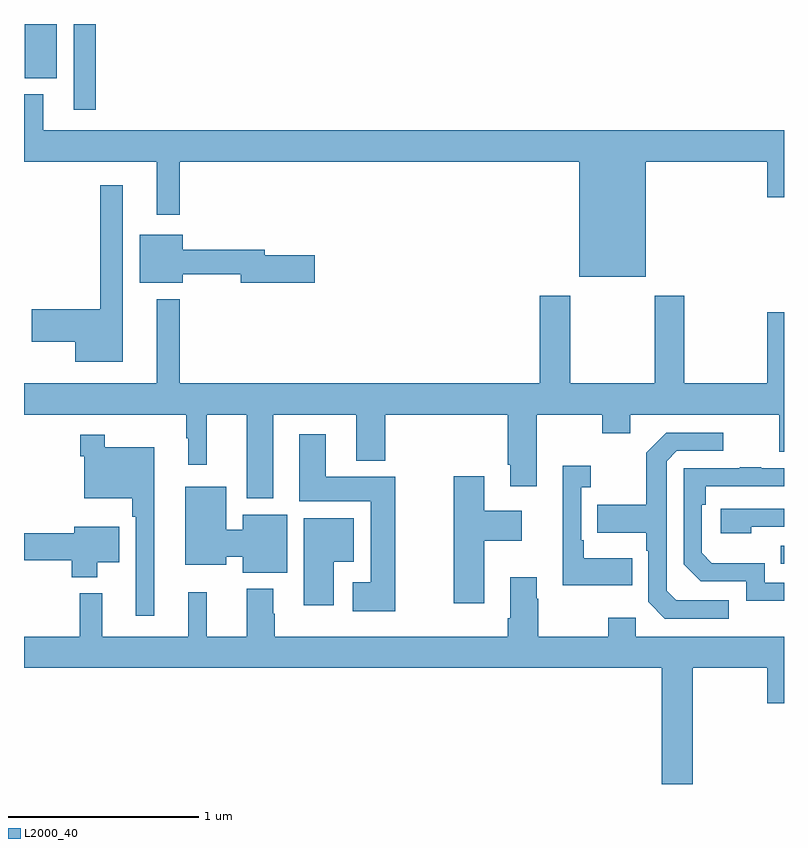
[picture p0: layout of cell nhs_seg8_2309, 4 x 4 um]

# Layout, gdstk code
import gdstk
lib = gdstk.Library(unit=1e-6, precision=1e-09)
def R(c, l, rs):  # rectangles x0, y0, x1, y1
    for r in rs: c.add(gdstk.rectangle(r[:2], r[2:], *l))
def P(c, l, *ps):  # polygons
    for p in ps: c.add(gdstk.Polygon(p, *l))
L2000_40 = (2000, 40)

nhs_seg8_2309 = lib.new_cell('nhs_seg8_2309')
R(nhs_seg8_2309, L2000_40, [(260.983,1105.059,261,1105.155), (257.262,1107.45,257.378,1107.9), (257.003,1107.614,257.173,1107.9)])
P(nhs_seg8_2309, L2000_40, [(260.272,1107.176),(260.912,1107.176),(260.912,1106.988),(261,1106.988),(261,1107.34),(257.101,1107.34),(257.101,1107.529),(257,1107.529),(257,1107.176),(257.699,1107.176),(257.699,1106.895),(257.821,1106.895),(257.821,1107.176),(259.922,1107.176),(259.922,1106.57),(260.272,1106.57)],
  [(257.521,1107.052),(257.4,1107.052),(257.4,1106.399),(257.04,1106.399),(257.04,1106.228),(257.27,1106.228),(257.27,1106.123),(257.521,1106.123)],
  [(257.836,1106.584),(258.14,1106.584),(258.14,1106.537),(258.529,1106.537),(258.529,1106.684),(258.268,1106.684),(258.268,1106.713),(257.836,1106.713),(257.836,1106.791),(257.609,1106.791),(257.609,1106.537),(257.836,1106.537)],
  [(258.313,1105.844),(258.749,1105.844),(258.749,1105.601),(258.902,1105.601),(258.902,1105.844),(259.547,1105.844),(259.547,1105.579),(259.559,1105.579),(259.559,1105.467),(259.699,1105.467),(259.699,1105.844),(260.044,1105.844),(260.044,1105.745),(260.191,1105.745),(260.191,1105.844),(260.975,1105.844),(260.975,1105.65),(261,1105.65),(261,1106.383),(260.912,1106.383),(260.912,1106.008),(260.475,1106.008),(260.475,1106.47),(260.32,1106.47),(260.32,1106.008),(259.875,1106.008),(259.875,1106.47),(259.715,1106.47),(259.715,1106.008),(257.821,1106.008),(257.821,1106.452),(257.699,1106.452),(257.699,1106.008),(257,1106.008),(257,1105.844),(257.853,1105.844),(257.853,1105.721),(257.864,1105.721),(257.864,1105.581),(257.963,1105.581),(257.963,1105.844),(258.173,1105.844),(258.173,1105.403),(258.313,1105.403)],
  [(260.71,1104.867),(260.433,1104.867),(260.382,1104.918),(260.382,1105.599),(260.436,1105.653),(260.68,1105.653),(260.68,1105.749),(260.379,1105.749),(260.274,1105.643),(260.274,1105.371),(260.017,1105.371),(260.017,1105.223),(260.274,1105.223),(260.274,1105.127),(260.286,1105.127),(260.286,1104.858),(260.373,1104.771),(260.71,1104.771)],
  [(258.954,1105.516),(258.589,1105.516),(258.589,1105.741),(258.449,1105.741),(258.449,1105.388),(258.824,1105.388),(258.824,1104.961),(258.729,1104.961),(258.729,1104.809),(258.954,1104.809)],
  [(257.686,1105.672),(257.425,1105.672),(257.425,1105.738),(257.296,1105.738),(257.296,1105.625),(257.316,1105.625),(257.316,1105.403),(257.569,1105.403),(257.569,1105.307),(257.589,1105.307),(257.589,1104.786),(257.686,1104.786)],
  [(260.201,1105.087),(259.945,1105.087),(259.945,1105.183),(259.932,1105.183),(259.932,1105.463),(259.984,1105.463),(259.984,1105.576),(259.835,1105.576),(259.835,1104.947),(260.201,1104.947)],
  [(261,1104.96),(260.898,1104.96),(260.898,1105.063),(260.621,1105.063),(260.568,1105.116),(260.568,1105.37),(260.588,1105.37),(260.588,1105.467),(261,1105.467),(261,1105.563),(260.879,1105.563),(260.879,1105.568),(260.767,1105.568),(260.767,1105.563),(260.472,1105.563),(260.472,1105.056),(260.562,1104.966),(260.802,1104.966),(260.802,1104.864),(261,1104.864)],
  [(259.423,1105.181),(259.621,1105.181),(259.621,1105.339),(259.423,1105.339),(259.423,1105.519),(259.261,1105.519),(259.261,1104.852),(259.423,1104.852)],
  [(258.385,1105.318),(258.152,1105.318),(258.152,1105.238),(258.064,1105.238),(258.064,1105.465),(257.849,1105.465),(257.849,1105.055),(258.064,1105.055),(258.064,1105.096),(258.152,1105.096),(258.152,1105.013),(258.385,1105.013)],
  [(260.828,1105.254),(261,1105.254),(261,1105.35),(260.666,1105.35),(260.666,1105.22),(260.828,1105.22)],
  [(258.631,1105.07),(258.736,1105.07),(258.736,1105.3),(258.473,1105.3),(258.473,1104.84),(258.631,1104.84)],
  [(257.386,1105.067),(257.5,1105.067),(257.5,1105.255),(257.264,1105.255),(257.264,1105.22),(257,1105.22),(257,1105.078),(257.252,1105.078),(257.252,1104.989),(257.386,1104.989)],
  [(260.521,1104.512),(260.912,1104.512),(260.912,1104.324),(261,1104.324),(261,1104.676),(260.22,1104.676),(260.22,1104.775),(260.074,1104.775),(260.074,1104.676),(259.707,1104.676),(259.707,1104.875),(259.699,1104.875),(259.699,1104.988),(259.559,1104.988),(259.559,1104.772),(259.547,1104.772),(259.547,1104.676),(258.321,1104.676),(258.321,1104.797),(258.313,1104.797),(258.313,1104.928),(258.173,1104.928),(258.173,1104.676),(257.963,1104.676),(257.963,1104.91),(257.864,1104.91),(257.864,1104.676),(257.411,1104.676),(257.411,1104.904),(257.293,1104.904),(257.293,1104.676),(257,1104.676),(257,1104.512),(260.357,1104.512),(260.357,1103.9),(260.521,1103.9)])

lib.write_gds('nhs_seg8_2309.gds')
